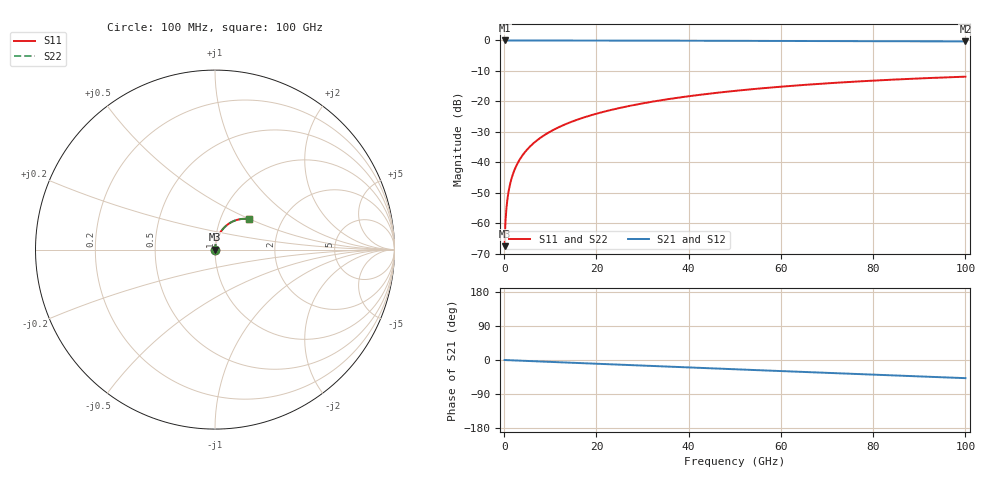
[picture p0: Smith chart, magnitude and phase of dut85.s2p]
! Touchstone file exported from HFSS 2026.1.0
!  File:  C:/ffzhzh/LocalFiles/Ansys_Project_Files/temp_train_TSV_85_1783505508_44152.aedt
!  Generated:  06:13:09 PM Jul  8, 2026
!  Design:  TSV
!  Project:  temp_train_TSV_85_1783505508_44152
! Variables:
!  h_bsmrdl = 2um
!  h_ox = 20um
!  h_rdl = 5um
!  h_sub = 90.39um
!  h_tmrdl = 5um
!  h_tsv = 90.39um
!  h_via = 3um
!  l_bsmrdl = 300um
!  l_sub = 414.96um
!  l_tmrdl = 200um
!  m_sub = 200um
!  pitch = 50.96um
!  r_tsv = 7.48um
!  s_tmrdl = 10um
!  w_bsmrdl = 18um
!  w_sub = 500um
!  w_tmrdl = 12um
!  x_tsv_center1 = 206um
!  x_tsv_center2 = 524um
!  x_tsv_center3 = 736um
!  x_tsv_center4 = 1054um
!  x_tsv_center5 = 1266um
!  x_tsv_center6 = 1584um
# GHz S MA R 50.000000
! Terminal data exported
! Port[1] = TSV1_1_T1
! Port[2] = TSV1_1_T2
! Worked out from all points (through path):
!   1000 points, 100 MHz to 100 GHz, reference 50 ohm
!   highest |S21| = 0.00 dB at 100 MHz (marker M1); lowest = -0.3 dB at 100 GHz (marker M2)
!   group delay of S21, straight-line fit = 1.33 ps
!   lowest |S11| = -67.5 dB at 100 MHz (marker M3), VSWR 1.00, Z = 50 + j0.0363 ohm
!   |S11| at or under -10 dB: start of sweep to end of sweep
!   |S22| runs from -67.5 to -11.9 dB; largest |S21 - S12| = 3.5e-15
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0.1  0.0004235 58.9  0.9998 -0.1  0.9998 -0.1  0.0004235 58.9
! Gamma 0 0 0 0
! Port Impedance 50 0 50 0
0.3  0.001103 76.8  0.9998 -0.2  0.9998 -0.2  0.001103 76.8
0.7  0.002461 82.1  0.9997 -0.4  0.9997 -0.4  0.002461 82.1
0.8  0.002796 82.6  0.9997 -0.4  0.9997 -0.4  0.002796 82.6
1  0.003462 83.3  0.9996 -0.5  0.9996 -0.5  0.003462 83.3
1.3  0.004455 83.9  0.9996 -0.7  0.9996 -0.7  0.004455 83.9
1.7  0.005768 84.4  0.9995 -0.9  0.9995 -0.9  0.005768 84.4
2.3  0.007716 84.6  0.9994 -1.2  0.9994 -1.2  0.007716 84.6
3  0.009964 84.7  0.9993 -1.5  0.9993 -1.5  0.009964 84.7
3.8  0.01251 84.7  0.9992 -1.9  0.9992 -1.9  0.01251 84.7
4.8  0.01568 84.5  0.999 -2.4  0.999 -2.4  0.01568 84.5
6  0.01948 84.3  0.9989 -3.0  0.9989 -3.0  0.01948 84.3
8.8  0.02829 83.3  0.9985 -4.4  0.9985 -4.4  0.02829 83.3
12.4  0.03952 81.9  0.9979 -6.2  0.9979 -6.2  0.03952 81.9
16.8  0.05311 80.0  0.997 -8.3  0.997 -8.3  0.05311 80.0
24.2  0.07561 76.6  0.9952 -11.9  0.9952 -11.9  0.07561 76.6
33.4  0.1028 72.4  0.9925 -16.4  0.9925 -16.4  0.1028 72.4
41.2  0.125 68.7  0.9897 -20.2  0.9897 -20.2  0.125 68.7
50.1  0.1492 64.5  0.9862 -24.5  0.9862 -24.5  0.1492 64.5
66.7  0.1905 56.8  0.9787 -32.4  0.9787 -32.4  0.1905 56.7
83.4  0.2261 49.0  0.9708 -40.2  0.9708 -40.2  0.2261 49.0
100  0.2547 41.5  0.9634 -47.9  0.9634 -47.9  0.2547 41.4
